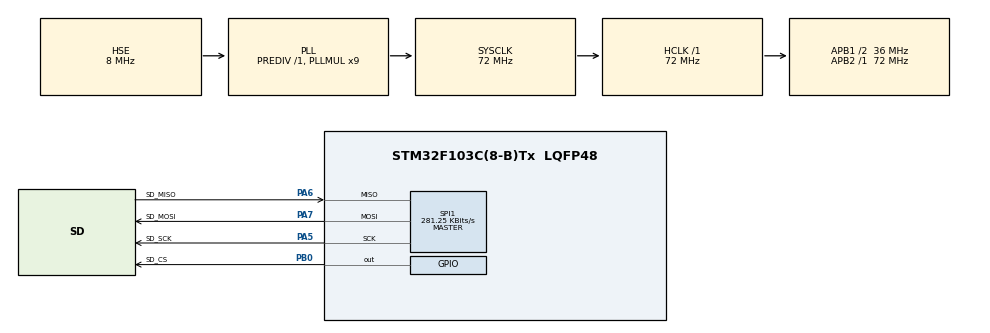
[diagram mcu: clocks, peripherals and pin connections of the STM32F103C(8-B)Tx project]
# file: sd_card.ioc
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Mcu.Family=STM32F1
RCC.PLLSourceVirtual=RCC_PLLSOURCE_HSE
PA6.Mode=Full_Duplex_Master
PA7.Mode=Full_Duplex_Master
FATFS._USE_LFN=0
PD1-OSC_OUT.Mode=HSE-External-Oscillator
SPI1.VirtualType=VM_MASTER
PA6.GPIO_Label=SD_MISO
PB0.GPIO_Label=SD_CS
NVIC.TIM1_UP_IRQn=true\:0\:0\:false\:false\:true\:false\:true
PD0-OSC_IN.Signal=RCC_OSC_IN
RCC.APB1CLKDivider=RCC_HCLK_DIV2
RCC.SYSCLKSource=RCC_SYSCLKSOURCE_PLLCLK
ProjectManager.StackSize=0x400
PD1-OSC_OUT.Signal=RCC_OSC_OUT
PA13.Signal=SYS_JTMS-SWDIO
ProjectManager.TargetToolchain=STM32CubeIDE
SPI1.Direction=SPI_DIRECTION_2LINES
RCC.HCLKFreq_Value=72000000
RCC.APB2TimFreq_Value=72000000
SPI1.CalculateBaudRate=281.25 KBits/s
RCC.USBFreq_Value=72000000
RCC.AHBFreq_Value=72000000
VP_FATFS_VS_Generic.Mode=User_defined
PD0-OSC_IN.Mode=HSE-External-Oscillator
PA5.Signal=SPI1_SCK
board=custom
RCC.PLLMUL=RCC_PLL_MUL9
RCC.APB2Freq_Value=72000000
SPI1.Mode=SPI_MODE_MASTER
PA14.Mode=Serial_Wire
VP_SYS_VS_tim1.Mode=TIM1
PA13.Mode=Serial_Wire
Mcu.Name=STM32F103C(8-B)Tx
FATFS._MAX_SS=4096
RCC.SYSCLKFreq_VALUE=72000000
Mcu.Package=LQFP48
PA6.Signal=SPI1_MISO
PA7.GPIO_Label=SD_MOSI
NVIC.TimeBase=TIM1_UP_IRQn
PA5.GPIO_Label=SD_SCK
NVIC.TimeBaseIP=TIM1
PA14.Signal=SYS_JTCK-SWCLK
ProjectManager.HeapSize=0x200
NVIC.PriorityGroup=NVIC_PRIORITYGROUP_4
RCC.APB1TimFreq_Value=72000000
RCC.APB1Freq_Value=36000000
SPI1.BaudRatePrescaler=SPI_BAUDRATEPRESCALER_256
PB0.Signal=GPIO_Output
PA5.Mode=Full_Duplex_Master
PA7.Signal=SPI1_MOSI

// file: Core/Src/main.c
/* USER CODE BEGIN Header */
/**
  *
  * The following program shows how to handle files within an SD card.
  * First, it will create a binary file called datafile.dat.
  * Then, it will log the data in a text file.
  * Finally, it will read the binary file that was created before.
  *
  * FATFS configurations were done following this video: https://www.youtube.com/watch?v=aqSNz26Cuio
  *
  * SD Card filesystem must be FAT32
  *
  */
/* USER CODE END Header */
#include "main.h"
#include "fatfs.h"

/* USER CODE BEGIN Includes */
#include "FreeRTOS.h"
#include "task.h"
#include <stdio.h>
/* USER CODE END Includes */

SPI_HandleTypeDef hspi1;

void SystemClock_Config(void);
static void MX_GPIO_Init(void);
static void MX_SPI1_Init(void);

/* USER CODE BEGIN 0 */

typedef struct {
	int data1;
	int data2;
	int data3;
}MY_DATA;

static void SDCard(void *pvParameters){

	MY_DATA dataWrite, dataRead;
	FIL fil;
	FATFS fs;
	UINT byteCounter;
	char text[30];

	dataWrite.data1 = 1;
	dataWrite.data2 = 2;
	dataWrite.data3 = 3;

	dataRead.data1 = 0;
	dataRead.data2 = 0;
	dataRead.data3 = 0;

	f_mount(&fs, "", 0);

	while(1){

		// Writes a binary file
		if(f_open(&fil,"datafile.dat", FA_OPEN_ALWAYS | FA_WRITE)==FR_OK){

			f_write(&fil, &dataWrite, sizeof(MY_DATA), &byteCounter);
			f_close(&fil);

		}

		vTaskDelay(500/portTICK_PERIOD_MS);

		// Writes a text file
		if(f_open(&fil, "textfile.txt", FA_OPEN_ALWAYS | FA_WRITE)==FR_OK){

			f_lseek(&fil, fil.fsize);
			sprintf(text, "Data1: %i\nData2: %i\nData3: %i\n", dataWrite.data1, dataWrite.data2, dataWrite.data3);
			f_puts(text, &fil);
			f_close(&fil);

		}

		vTaskDelay(500/portTICK_PERIOD_MS);

		// Reads a binary file
		if(f_open(&fil,"datafile.dat", FA_READ | FA_OPEN_EXISTING)==FR_OK){

			f_read(&fil, &dataRead, sizeof(MY_DATA), &byteCounter);
			f_close(&fil);

		}

		dataWrite.data1 = dataRead.data1 + 1;
		dataWrite.data2 = dataRead.data2 + 2;
		dataWrite.data3 = dataRead.data3 + 3;

		vTaskDelay(500/portTICK_PERIOD_MS);

	}
}

/* USER CODE END 0 */

int main(void)
{

  /* MCU Configuration--------------------------------------------------------*/

  /* Reset of all peripherals, Initializes the Flash interface and the Systick. */
  HAL_Init();

  /* Configure the system clock */
  SystemClock_Config();

  /* Initialize all configured peripherals */
  MX_GPIO_Init();
  MX_SPI1_Init();
  MX_FATFS_Init();
  /* USER CODE BEGIN 2 */

  xTaskCreate(SDCard, "",
      		  2048,
      		  NULL,
      		  1,
      		  NULL);

  vTaskStartScheduler();

  /* USER CODE END 2 */

  /* Infinite loop */
  while (1)
  {

  }
}

void SystemClock_Config(void)
{
  RCC_OscInitTypeDef RCC_OscInitStruct = {0};
  RCC_ClkInitTypeDef RCC_ClkInitStruct = {0};

  /** Initializes the RCC Oscillators according to the specified parameters
  * in the RCC_OscInitTypeDef structure.
  */
  RCC_OscInitStruct.OscillatorType = RCC_OSCILLATORTYPE_HSE;
  RCC_OscInitStruct.HSEState = RCC_HSE_ON;
  RCC_OscInitStruct.HSEPredivValue = RCC_HSE_PREDIV_DIV1;
  RCC_OscInitStruct.HSIState = RCC_HSI_ON;
  RCC_OscInitStruct.PLL.PLLState = RCC_PLL_ON;
  RCC_OscInitStruct.PLL.PLLSource = RCC_PLLSOURCE_HSE;
  RCC_OscInitStruct.PLL.PLLMUL = RCC_PLL_MUL9;
  if (HAL_RCC_OscConfig(&RCC_OscInitStruct) != HAL_OK)
  {
    Error_Handler();
  }
  /** Initializes the CPU, AHB and APB buses clocks
  */
  RCC_ClkInitStruct.ClockType = RCC_CLOCKTYPE_HCLK|RCC_CLOCKTYPE_SYSCLK
                              |RCC_CLOCKTYPE_PCLK1|RCC_CLOCKTYPE_PCLK2;
  RCC_ClkInitStruct.SYSCLKSource = RCC_SYSCLKSOURCE_PLLCLK;
  RCC_ClkInitStruct.AHBCLKDivider = RCC_SYSCLK_DIV1;
  RCC_ClkInitStruct.APB1CLKDivider = RCC_HCLK_DIV2;
  RCC_ClkInitStruct.APB2CLKDivider = RCC_HCLK_DIV1;

  if (HAL_RCC_ClockConfig(&RCC_ClkInitStruct, FLASH_LATENCY_2) != HAL_OK)
  {
    Error_Handler();
  }
}

static void MX_SPI1_Init(void)
{

  /* SPI1 parameter configuration*/
  hspi1.Instance = SPI1;
  hspi1.Init.Mode = SPI_MODE_MASTER;
  hspi1.Init.Direction = SPI_DIRECTION_2LINES;
  hspi1.Init.DataSize = SPI_DATASIZE_8BIT;
  hspi1.Init.CLKPolarity = SPI_POLARITY_LOW;
  hspi1.Init.CLKPhase = SPI_PHASE_1EDGE;
  hspi1.Init.NSS = SPI_NSS_SOFT;
  hspi1.Init.BaudRatePrescaler = SPI_BAUDRATEPRESCALER_256;
  hspi1.Init.FirstBit = SPI_FIRSTBIT_MSB;
  hspi1.Init.TIMode = SPI_TIMODE_DISABLE;
  hspi1.Init.CRCCalculation = SPI_CRCCALCULATION_DISABLE;
  hspi1.Init.CRCPolynomial = 10;
  if (HAL_SPI_Init(&hspi1) != HAL_OK)
  {
    Error_Handler();
  }

}

static void MX_GPIO_Init(void)
{
  GPIO_InitTypeDef GPIO_InitStruct = {0};

  /* GPIO Ports Clock Enable */
  __HAL_RCC_GPIOD_CLK_ENABLE();
  __HAL_RCC_GPIOA_CLK_ENABLE();
  __HAL_RCC_GPIOB_CLK_ENABLE();

  /*Configure GPIO pin Output Level */
  HAL_GPIO_WritePin(SD_CS_GPIO_Port, SD_CS_Pin, GPIO_PIN_RESET);

  /*Configure GPIO pin : SD_CS_Pin */
  GPIO_InitStruct.Pin = SD_CS_Pin;
  GPIO_InitStruct.Mode = GPIO_MODE_OUTPUT_PP;
  GPIO_InitStruct.Pull = GPIO_NOPULL;
  GPIO_InitStruct.Speed = GPIO_SPEED_FREQ_LOW;
  HAL_GPIO_Init(SD_CS_GPIO_Port, &GPIO_InitStruct);

}

 /**
  * @brief  Period elapsed callback in non blocking mode
  * @note   This function is called  when TIM1 interrupt took place, inside
  * HAL_TIM_IRQHandler(). It makes a direct call to HAL_IncTick() to increment
  * a global variable "uwTick" used as application time base.
  * @param  htim : TIM handle
  * @retval None
  */
void HAL_TIM_PeriodElapsedCallback(TIM_HandleTypeDef *htim)
{
  if (htim->Instance == TIM1) {
    HAL_IncTick();
  }
}

void Error_Handler(void)
{
  __disable_irq();
  while (1)
  {
  }
}

/************************ (C) COPYRIGHT STMicroelectronics *****END OF FILE****/
